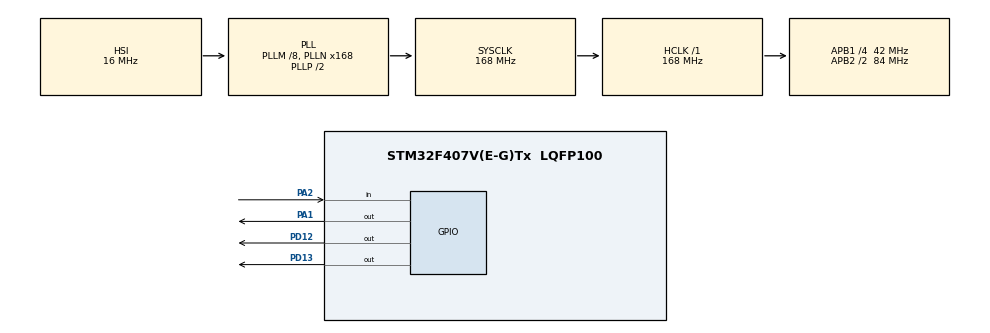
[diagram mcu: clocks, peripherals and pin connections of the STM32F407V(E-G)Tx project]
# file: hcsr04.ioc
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Mcu.Family=STM32F4
PH0-OSC_IN.Signal=RCC_OSC_IN
RCC.CortexFreq_Value=168000000
RCC.APB1CLKDivider=RCC_HCLK_DIV4
RCC.SYSCLKSource=RCC_SYSCLKSOURCE_PLLCLK
ProjectManager.StackSize=0x400
PD13.Signal=GPIO_Output
ProjectManager.TargetToolchain=STM32CubeIDE
RCC.HCLKFreq_Value=168000000
RCC.APB2TimFreq_Value=168000000
RCC.LSE_VALUE=32768
PA1.Signal=GPIO_Output
RCC.AHBFreq_Value=168000000
PH0-OSC_IN.Mode=HSE-External-Oscillator
RCC.HSE_VALUE=25000000
board=custom
RCC.VCOOutputFreq_Value=336000000
RCC.APB2Freq_Value=84000000
PH1-OSC_OUT.Signal=RCC_OSC_OUT
Mcu.Name=STM32F407V(E-G)Tx
PA2.Signal=GPIO_Input
PH1-OSC_OUT.Mode=HSE-External-Oscillator
RCC.48MHZClocksFreq_Value=84000000
RCC.SYSCLKFreq_VALUE=168000000
Mcu.Package=LQFP100
PD12.Signal=GPIO_Output
ProjectManager.HeapSize=0x200
RCC.HSI_VALUE=16000000
NVIC.PriorityGroup=NVIC_PRIORITYGROUP_4
RCC.APB2CLKDivider=RCC_HCLK_DIV2
RCC.PLLM=8
RCC.PLLN=168
RCC.APB1TimFreq_Value=84000000
RCC.APB1Freq_Value=42000000

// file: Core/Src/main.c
/* USER CODE BEGIN Header */
/**
  ******************************************************************************
  * @file           : main.c
  * @brief          : Main program body
  ******************************************************************************
  * @attention
  *
  * <h2><center>&copy; Copyright (c) 2021 STMicroelectronics.
  * All rights reserved.</center></h2>
  *
  * This software component is licensed by ST under BSD 3-Clause license,
  * the "License"; You may not use this file except in compliance with the
  * License. You may obtain a copy of the License at:
  *                        opensource.org/licenses/BSD-3-Clause
  *
  ******************************************************************************
  */
/* USER CODE END Header */
#include "main.h"

/* USER CODE BEGIN Includes */
#include "DWT_Delay.h"
/* USER CODE END Includes */

/* USER CODE BEGIN PV */
uint32_t time;
uint16_t distance;
/* USER CODE END PV */

void SystemClock_Config(void);
static void MX_GPIO_Init(void);

/* USER CODE BEGIN 0 */
// fonksiyon oluşturalım.
uint32_t Read_HCSR04()
{
	uint32_t local_time=0;
	HAL_GPIO_WritePin(GPIOA, GPIO_PIN_1, GPIO_PIN_SET); // trigger pinini açtık
	DWT_Delay_us(10); // 10us beklettik

	HAL_GPIO_WritePin(GPIOA, GPIO_PIN_1, GPIO_PIN_RESET); // sonra triggeri lowa çektik

	while(!HAL_GPIO_ReadPin(GPIOA,GPIO_PIN_2)); // 2.pinden değer gelmiyorsa bu döngüde kal.

	while(HAL_GPIO_ReadPin(GPIOA,GPIO_PIN_2)) //2. pin 1 olursa değerleri oku 1us saniyede local_time arttır.
	{
		local_time++;

		DWT_Delay_us(1);
	}
	return local_time;
}
/* USER CODE END 0 */

int main(void)
{

  /* MCU Configuration--------------------------------------------------------*/

  /* Reset of all peripherals, Initializes the Flash interface and the Systick. */
  HAL_Init();

  /* Configure the system clock */
  SystemClock_Config();

  /* Initialize all configured peripherals */
  MX_GPIO_Init();
  /* USER CODE BEGIN 2 */
DWT_Delay_Init();
  /* USER CODE END 2 */

  /* Infinite loop */
  while (1)
  {

    /* USER CODE BEGIN 3 */
	  time = Read_HCSR04();
	  distance = time / 58 ;
	  HAL_GPIO_WritePin(GPIOD, GPIO_PIN_12, GPIO_PIN_SET);
	  HAL_GPIO_WritePin(GPIOD, GPIO_PIN_13, GPIO_PIN_SET);
  }
  /* USER CODE END 3 */
}

void SystemClock_Config(void)
{
  RCC_OscInitTypeDef RCC_OscInitStruct = {0};
  RCC_ClkInitTypeDef RCC_ClkInitStruct = {0};

  /** Configure the main internal regulator output voltage
  */
  __HAL_RCC_PWR_CLK_ENABLE();
  __HAL_PWR_VOLTAGESCALING_CONFIG(PWR_REGULATOR_VOLTAGE_SCALE1);
  /** Initializes the RCC Oscillators according to the specified parameters
  * in the RCC_OscInitTypeDef structure.
  */
  RCC_OscInitStruct.OscillatorType = RCC_OSCILLATORTYPE_HSI;
  RCC_OscInitStruct.HSIState = RCC_HSI_ON;
  RCC_OscInitStruct.HSICalibrationValue = RCC_HSICALIBRATION_DEFAULT;
  RCC_OscInitStruct.PLL.PLLState = RCC_PLL_ON;
  RCC_OscInitStruct.PLL.PLLSource = RCC_PLLSOURCE_HSI;
  RCC_OscInitStruct.PLL.PLLM = 8;
  RCC_OscInitStruct.PLL.PLLN = 168;
  RCC_OscInitStruct.PLL.PLLP = RCC_PLLP_DIV2;
  RCC_OscInitStruct.PLL.PLLQ = 4;
  if (HAL_RCC_OscConfig(&RCC_OscInitStruct) != HAL_OK)
  {
    Error_Handler();
  }
  /** Initializes the CPU, AHB and APB buses clocks
  */
  RCC_ClkInitStruct.ClockType = RCC_CLOCKTYPE_HCLK|RCC_CLOCKTYPE_SYSCLK
                              |RCC_CLOCKTYPE_PCLK1|RCC_CLOCKTYPE_PCLK2;
  RCC_ClkInitStruct.SYSCLKSource = RCC_SYSCLKSOURCE_PLLCLK;
  RCC_ClkInitStruct.AHBCLKDivider = RCC_SYSCLK_DIV1;
  RCC_ClkInitStruct.APB1CLKDivider = RCC_HCLK_DIV4;
  RCC_ClkInitStruct.APB2CLKDivider = RCC_HCLK_DIV2;

  if (HAL_RCC_ClockConfig(&RCC_ClkInitStruct, FLASH_LATENCY_5) != HAL_OK)
  {
    Error_Handler();
  }
}

static void MX_GPIO_Init(void)
{
  GPIO_InitTypeDef GPIO_InitStruct = {0};

  /* GPIO Ports Clock Enable */
  __HAL_RCC_GPIOH_CLK_ENABLE();
  __HAL_RCC_GPIOA_CLK_ENABLE();
  __HAL_RCC_GPIOD_CLK_ENABLE();

  /*Configure GPIO pin Output Level */
  HAL_GPIO_WritePin(GPIOA, GPIO_PIN_1, GPIO_PIN_RESET);

  /*Configure GPIO pin Output Level */
  HAL_GPIO_WritePin(GPIOD, GPIO_PIN_12|GPIO_PIN_13, GPIO_PIN_RESET);

  /*Configure GPIO pin : PA1 */
  GPIO_InitStruct.Pin = GPIO_PIN_1;
  GPIO_InitStruct.Mode = GPIO_MODE_OUTPUT_PP;
  GPIO_InitStruct.Pull = GPIO_NOPULL;
  GPIO_InitStruct.Speed = GPIO_SPEED_FREQ_LOW;
  HAL_GPIO_Init(GPIOA, &GPIO_InitStruct);

  /*Configure GPIO pin : PA2 */
  GPIO_InitStruct.Pin = GPIO_PIN_2;
  GPIO_InitStruct.Mode = GPIO_MODE_INPUT;
  GPIO_InitStruct.Pull = GPIO_NOPULL;
  HAL_GPIO_Init(GPIOA, &GPIO_InitStruct);

  /*Configure GPIO pins : PD12 PD13 */
  GPIO_InitStruct.Pin = GPIO_PIN_12|GPIO_PIN_13;
  GPIO_InitStruct.Mode = GPIO_MODE_OUTPUT_PP;
  GPIO_InitStruct.Pull = GPIO_NOPULL;
  GPIO_InitStruct.Speed = GPIO_SPEED_FREQ_LOW;
  HAL_GPIO_Init(GPIOD, &GPIO_InitStruct);

}

void Error_Handler(void)
{
  __disable_irq();
  while (1)
  {
  }
}

/************************ (C) COPYRIGHT STMicroelectronics *****END OF FILE****/
